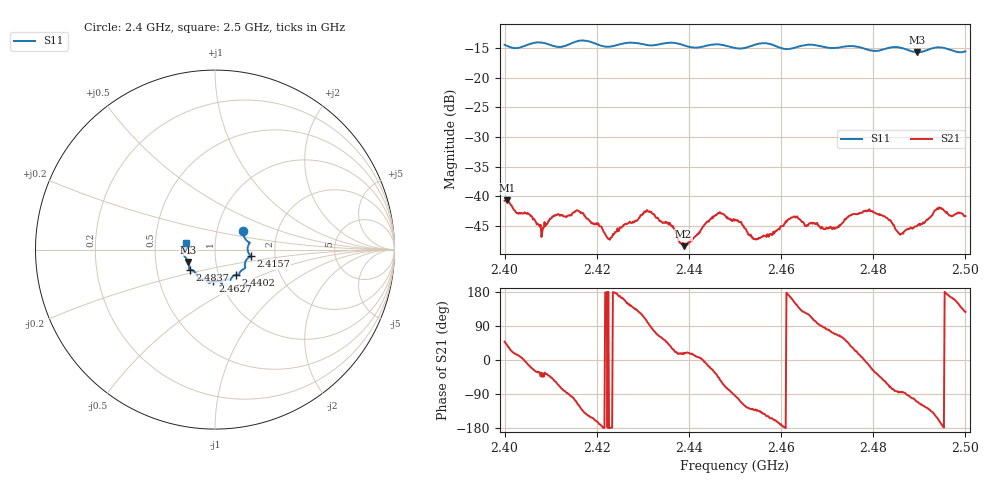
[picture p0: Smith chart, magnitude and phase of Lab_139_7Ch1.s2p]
# Hz S RI R 50
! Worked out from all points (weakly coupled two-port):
!   601 points, 2.4 GHz to 2.5 GHz, reference 50 ohm
!   highest |S21| = -40.68 dB at 2.4005 GHz (marker M1); lowest = -48.4 dB at 2.4388 GHz (marker M2)
!   lowest |S11| = -15.7 dB at 2.4895 GHz (marker M3), VSWR 1.39, Z = 36.8 - j5.16 ohm
!   |S11| at or under -10 dB: start of sweep to end of sweep
!   S12 and S22 are empty: the file has one direction only
!   S11 on the Smith chart (normalised r, x): 2.4 GHz: 1.33, +0.29; 2.4157 GHz: 1.49, -0.11; 2.4402 GHz: 1.20, -0.35; 2.4627 GHz: 0.92, -0.34; 2.4837 GHz: 0.74, -0.17; 2.5 GHz: 0.72, +0.05
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2.4e9  0.1565 0.1056  0.0061 0.00685  0 0  0 0
2.4005e9  0.1568 0.0987  0.00709 0.00594  0 0  0 0
2.408e9  0.1939 0.0377  0.00379 -0.00251  0 0  0 0
2.415667e9  0.199 -0.0365  -0.00288 -0.00706  0 0  0 0
2.416667e9  0.2017 -0.04  -0.00468 -0.00563  0 0  0 0
2.422667e9  0.1678 -0.071  -0.00435 -1.99e-05  0 0  0 0
2.4305e9  0.1512 -0.114  -0.00238 0.00701  0 0  0 0
2.433333e9  0.1356 -0.1335  0.00271 0.00588  0 0  0 0
2.438833e9  0.125 -0.1399  0.00366 0.00103  0 0  0 0
2.440167e9  0.1144 -0.1406  0.00388 0.00122  0 0  0 0
2.446333e9  0.0848 -0.1707  0.00503 -0.00517  0 0  0 0
2.45e9  0.064 -0.1659  -0.000495 -0.00636  0 0  0 0
2.4545e9  0.0372 -0.1866  -0.00284 -0.00332  0 0  0 0
2.462667e9  -0.0116 -0.1771  -0.00612 0.00276  0 0  0 0
2.466667e9  -0.0329 -0.1865  -0.00208 0.0056  0 0  0 0
2.478667e9  -0.1028 -0.1387  0.00753 -0.00108  0 0  0 0
2.483333e9  -0.1382 -0.1122  0.00253 -0.00584  0 0  0 0
2.483667e9  -0.1401 -0.112  0.00218 -0.00591  0 0  0 0
2.486e9  -0.1446 -0.1048  0.000435 -0.00478  0 0  0 0
2.4895e9  -0.1485 -0.0683  -0.00189 -0.0053  0 0  0 0
2.494167e9  -0.1783 -0.0251  -0.00722 -0.00295  0 0  0 0
2.5e9  -0.1625 0.0363  -0.00408 0.00547  0 0  0 0
